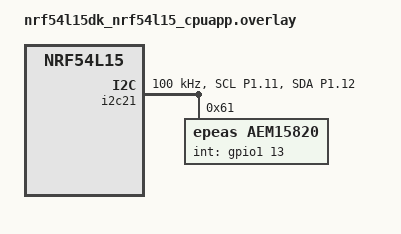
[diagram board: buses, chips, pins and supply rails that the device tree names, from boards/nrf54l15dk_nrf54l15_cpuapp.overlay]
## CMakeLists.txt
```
# SPDX-License-Identifier: Apache-2.0

cmake_minimum_required(VERSION 3.20.0)

# Infuse-IoT application
if(NOT infuse IN_LIST SNIPPET)
  set(SNIPPET infuse ${SNIPPET} CACHE STRING "" FORCE)
endif()

find_package(Zephyr REQUIRED HINTS $ENV{ZEPHYR_BASE})
project(aem15820)

target_sources(app PRIVATE
  src/main.c
)
```

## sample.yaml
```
sample:
  description: e-peas AEM15820 energy harvesting demonstration application
  name: AEM15820 Demo
common:
  tags:
    - charger
    - sensor
    - epacket
    - kv_store
    - logging
    - rpc
    - states
    - tdf
  filter: dt_compat_enabled("epeas,aem15820-charger") and dt_compat_enabled("epeas,aem15820-sensor")
  required_snippets:
    - infuse
  integration_platforms:
    - nrf54l15dk/nrf54l15/cpuapp
  build_only: true
tests:
  sample.charger.aem15820: {}
```

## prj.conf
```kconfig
CONFIG_INFUSE_SDK=y
CONFIG_SENSOR=y
CONFIG_CHARGER=y
CONFIG_TASK_RUNNER=y
CONFIG_TASK_RUNNER_TASK_TDF_LOGGER=y
```

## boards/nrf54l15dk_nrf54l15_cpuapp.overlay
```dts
/*
 * Copyright (c) 2026 Embeint Holdings Pty Ltd
 *
 * SPDX-License-Identifier: Apache-2.0
 *
 * AEM15820 EVK connected to the nRF54L15DK:
 *   SCL: P1.11
 *   SDA: P1.12
 *   IRQ: P1.13 (shared with BUTTON0, which is removed)
 *
 * The EVK must be configured for I2C operation with VDDIO matching the DK
 * I/O voltage.
 */

&pinctrl {
	i2c21_default: i2c21_default {
		group1 {
			psels = <NRF_PSEL(TWIM_SCL, 1, 11)>,
				<NRF_PSEL(TWIM_SDA, 1, 12)>;
			bias-pull-up;
		};
	};

	i2c21_sleep: i2c21_sleep {
		group1 {
			psels = <NRF_PSEL(TWIM_SCL, 1, 11)>,
				<NRF_PSEL(TWIM_SDA, 1, 12)>;
			low-power-enable;
		};
	};
};

/* P1.13 is used as the AEM15820 IRQ line */
/ {
	aliases {
		/delete-property/ sw0;
		/delete-property/ mcuboot-button0;
	};
};
/delete-node/ &button0;

&i2c21 {
	compatible = "nordic,nrf-twim";
	status = "okay";
	clock-frequency = <I2C_BITRATE_STANDARD>;
	pinctrl-0 = <&i2c21_default>;
	pinctrl-1 = <&i2c21_sleep>;
	pinctrl-names = "default", "sleep";

	aem15820: pmic@61 {
		compatible = "epeas,aem15820";
		reg = <0x61>;
		int-gpios = <&gpio1 13 GPIO_ACTIVE_HIGH>;

		/* APM alpha factors are the AEM15820 EVK defaults:
		 *   Low-power boost:  1.804e-8 W/LSB
		 *   High-power boost: 1.200e-5 W/LSB
		 *   Buck (LOAD):      2.265e-9 W/LSB
		 */
		aem15820_sensor: sensor {
			compatible = "epeas,aem15820-sensor";
			apm-boost-lp-alpha-picowatt = <18040>;
			apm-boost-hp-alpha-picowatt = <12000000>;
			apm-load-alpha-picowatt = <2265>;
		};

		/* AEM15820 EVK default configuration (AEM15820_config.yaml):
		 *   Boost LP:     enabled, TMULT x3
		 *   Boost HP:     enabled, TMULT x6
		 *   Source:       MPPT, 85% ratio, 233 ms wait, 14895 ms period
		 *   Source low:   0.300 V
		 *   VOVDIS:       3.000 V
		 *   VCHRDY:       3.300 V
		 *   VCHRDYBUCK:   3.300 V
		 *   VOVCH:        4.200 V
		 *   Buck:         1.8 V, TMULT x2
		 *   APM:          BSTLP, BSTHP and LOAD, counter mode, 233 ms window,
		 *                 no accumulation (CHG5V disabled)
		 *   5V charger:   enabled, constant current only
		 *   Temperature:  protection enabled, R0 = 10k, B = 3380, RDIV = 22k,
		 *                 -24.93 C to 69.78 C for charge and discharge
		 *   IRQ:          I2CRDY only (APMDONE is enabled by the application)
		 *
		 * Changed from the EVK defaults:
		 *   APM:          5 accumulated windows (APMDONE every ~1 second)
		 */
		aem15820_charger: charger {
			compatible = "epeas,aem15820-charger";
			boost-lp-timing-multiplier = <3>;
			boost-hp-timing-multiplier = <6>;
			source-regulation = "mppt";
			mppt-ratio-percent = <85>;
			mppt-wait-us = <233000>;
			mppt-period-ms = <14895>;
			source-low-millivolt = <300>;
			vovdis-millivolt = <3000>;
			vchrdy-millivolt = <3300>;
			vchrdy-buck-millivolt = <3300>;
			vovch-millivolt = <4200>;
			buck-output-millivolt = <1800>;
			buck-timing-multiplier = <2>;
			apm-boost-lp;
			apm-boost-hp;
			apm-load;
			apm-mode = "counter";
			apm-window-ms = <233>;
			apm-accumulation = <5>;
			ntc-r0 = <10000>;
			ntc-beta = <3380>;
			ntc-rdiv = <22000>;
			charge-temp-min-millicelsius = <(-24930)>;
			charge-temp-max-millicelsius = <69780>;
			discharge-temp-min-millicelsius = <(-24930)>;
			discharge-temp-max-millicelsius = <69780>;
		};
	};
};
```

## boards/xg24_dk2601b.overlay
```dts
/*
 * Copyright (c) 2026 Embeint Holdings Pty Ltd
 *
 * SPDX-License-Identifier: Apache-2.0
 *
 * AEM15820 EVK connected to the xG24 Dev Kit (BRD2601B) expansion header:
 *   SCL: PC4 (EXP15, I2C0 shared with the onboard sensors)
 *   SDA: PC5 (EXP16, I2C0 shared with the onboard sensors)
 *   IRQ: PB2 (EXP3, shared with BTN0, which is removed)
 *
 * Port B pins retain their interrupt functionality in EM2, allowing the IRQ
 * line to wake the SoC.
 *
 * The EVK must be configured for I2C operation with VDDIO matching the DK
 * I/O voltage.
 */

/* PB2 is used as the AEM15820 IRQ line */
/ {
	aliases {
		/delete-property/ sw0;
	};
};
/delete-node/ &button0;

&i2c0 {
	aem15820: pmic@61 {
		compatible = "epeas,aem15820";
		reg = <0x61>;
		int-gpios = <&gpiob 2 GPIO_ACTIVE_HIGH>;

		/* APM alpha factors are the AEM15820 EVK defaults:
		 *   Low-power boost:  1.804e-8 W/LSB
		 *   High-power boost: 1.200e-5 W/LSB
		 *   Buck (LOAD):      2.265e-9 W/LSB
		 */
		aem15820_sensor: sensor {
			compatible = "epeas,aem15820-sensor";
			apm-boost-lp-alpha-picowatt = <18040>;
			apm-boost-hp-alpha-picowatt = <12000000>;
			apm-load-alpha-picowatt = <2265>;
		};

		/* AEM15820 EVK default configuration (AEM15820_config.yaml):
		 *   Boost LP:     enabled, TMULT x3
		 *   Boost HP:     enabled, TMULT x6
		 *   Source:       MPPT, 85% ratio, 233 ms wait, 14895 ms period
		 *   Source low:   0.300 V
		 *   VOVDIS:       3.000 V
		 *   VCHRDY:       3.300 V
		 *   VCHRDYBUCK:   3.300 V
		 *   VOVCH:        4.200 V
		 *   Buck:         1.8 V, TMULT x2
		 *   APM:          BSTLP, BSTHP and LOAD, counter mode, 233 ms window,
		 *                 no accumulation (CHG5V disabled)
		 *   5V charger:   enabled, constant current only
		 *   Temperature:  protection enabled, R0 = 10k, B = 3380, RDIV = 22k,
		 *                 -24.93 C to 69.78 C for charge and discharge
		 *   IRQ:          I2CRDY only (APMDONE is enabled by the application)
		 *
		 * Changed from the EVK defaults:
		 *   APM:          5 accumulated windows (APMDONE every ~1 second)
		 */
		aem15820_charger: charger {
			compatible = "epeas,aem15820-charger";
			boost-lp-timing-multiplier = <3>;
			boost-hp-timing-multiplier = <6>;
			source-regulation = "mppt";
			mppt-ratio-percent = <85>;
			mppt-wait-us = <233000>;
			mppt-period-ms = <14895>;
			source-low-millivolt = <300>;
			vovdis-millivolt = <3000>;
			vchrdy-millivolt = <3300>;
			vchrdy-buck-millivolt = <3300>;
			vovch-millivolt = <4200>;
			buck-output-millivolt = <1800>;
			buck-timing-multiplier = <2>;
			apm-boost-lp;
			apm-boost-hp;
			apm-load;
			apm-mode = "power";
			apm-window-ms = <233>;
			apm-accumulation = <5>;
			ntc-r0 = <10000>;
			ntc-beta = <3380>;
			ntc-rdiv = <22000>;
			charge-temp-min-millicelsius = <(-24930)>;
			charge-temp-max-millicelsius = <69780>;
			discharge-temp-min-millicelsius = <(-24930)>;
			discharge-temp-max-millicelsius = <69780>;
		};
	};
};
```

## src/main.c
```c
/**
 * @file
 * @copyright 2026 Embeint Holdings Pty Ltd
 * @author Jordan Yates <jordan@embeint.com>
 *
 * SPDX-License-Identifier: FSL-1.1-ALv2
 */

#include <zephyr/kernel.h>
#include <zephyr/device.h>
#include <zephyr/drivers/gpio.h>
#include <zephyr/drivers/sensor.h>
#include <zephyr/logging/log.h>

#include <infuse/data_logger/high_level/tdf.h>
#include <infuse/drivers/mfd/aem15820.h>
#include <infuse/drivers/sensor/aem15820.h>
#include <infuse/task_runner/tasks/tdf_logger.h>
#include <infuse/tdf/definitions.h>
#include <infuse/time/epoch.h>

#define CHARGER_NODE DT_COMPAT_GET_ANY_STATUS_OKAY(epeas_aem15820_charger)
#define SENSOR_NODE  DT_COMPAT_GET_ANY_STATUS_OKAY(epeas_aem15820_sensor)

BUILD_ASSERT(DT_ENUM_HAS_VALUE(CHARGER_NODE, source_regulation, mppt),
	     "Sample requires MPPT source regulation");
BUILD_ASSERT(DT_SAME_NODE(DT_PARENT(CHARGER_NODE), DT_PARENT(SENSOR_NODE)),
	     "Sensor and charger must belong to the same AEM15820");

#define MPPT_RATIO_PERCENT DT_PROP(CHARGER_NODE, mppt_ratio_percent)
/* Nominal time between APM interrupts, including accumulated windows */
#define APM_PERIOD_MS                                                                              \
	(DT_PROP(CHARGER_NODE, apm_window_ms) * DT_PROP(CHARGER_NODE, apm_accumulation))
#define REPORT_PERIOD K_SECONDS(5)

/* Live loggers are flushed on every report, flash is written as blocks fill */
#define TDF_LOGGERS_LIVE (TDF_DATA_LOGGER_BT_ADV | TDF_DATA_LOGGER_SERIAL)
#define TDF_LOGGERS      (TDF_LOGGERS_LIVE | TDF_DATA_LOGGER_FLASH)

/* Optional ambient light sensor, reported alongside the AEM15820 measurements */
#define LIGHT_NODE DT_ALIAS(light0)

/* Optional LED, blinked on each report as a visual liveness indicator */
#define LED_BLINK_DURATION K_MSEC(20)
static const struct gpio_dt_spec led = GPIO_DT_SPEC_GET_OR(DT_ALIAS(led0), gpios, {0});

/* The accumulated TDF contains the preceding complete minute. */
#define ENERGY_ACCUMULATION_PERIOD_MS (60 * MSEC_PER_SEC)
/* 1 uWh = 3.6e9 nW.ms */
#define NW_MS_PER_UWH                 3600000000ULL
/* 1 nWh = 3.6e6 nW.ms */
#define NW_MS_PER_NWH                 3600000ULL

/* 1 mAh = 1e12 fAh */
#define FAH_PER_MAH 1000000000000ULL

LOG_MODULE_REGISTER(app, LOG_LEVEL_INF);

static K_SEM_DEFINE(apm_done, 0, 1);
/* Uptime of the last APM window completion */
static int64_t apm_done_ms;
/* Charge stored through the boost converters since boot */
static uint64_t stored_fah;
/* Energy stored through each boost converter since boot */
static uint64_t stored_lp_nw_ms;
static uint64_t stored_hp_nw_ms;
/* Energy accumulated in the current, incomplete minute */
static uint64_t minute_energy_nw_ms;
static uint32_t minute_duration_ms;
/* Most recently completed minute, retransmitted with each report */
static struct tdf_energy_harvester_accumulated accumulated_tdf;

static void apm_handler(const struct device *dev, struct aem15820_irq_callback *cb, uint16_t events)
{
	apm_done_ms = k_uptime_get();
	k_sem_give(&apm_done);
}

static struct aem15820_irq_callback apm_cb = {
	.handler = apm_handler,
	.events = AEM15820_IRQ_APMDONE,
};

static int channel_get(const struct device *dev, int chan, int64_t *micro)
{
	struct sensor_value val;
	int rc;

	rc = sensor_channel_get(dev, (enum sensor_channel)chan, &val);
	if (rc == 0) {
		*micro = sensor_value_to_micro(&val);
	}
	return rc;
}

static void report_ambient_light(uint64_t epoch_time)
{
#if DT_NODE_HAS_STATUS_OKAY(LIGHT_NODE)
	const struct device *light = DEVICE_DT_GET(LIGHT_NODE);
	struct tdf_ambient_light light_tdf;
	int64_t light_ulux;
	int rc;

	rc = sensor_sample_fetch_chan(light, SENSOR_CHAN_LIGHT);
	if (rc == 0) {
		rc = channel_get(light, SENSOR_CHAN_LIGHT, &light_ulux);
	}
	if (rc != 0) {
		LOG_ERR("Ambient light unavailable (%d)", rc);
		return;
	}

	light_tdf.illuminance = CLAMP(DIV_ROUND_CLOSEST(light_ulux, 1000), 0, UINT32_MAX);
	LOG_INF("Ambient light %u.%03u lux", light_tdf.illuminance / 1000,
		light_tdf.illuminance % 1000);
	TDF_DATA_LOGGER_LOG(TDF_LOGGERS, TDF_AMBIENT_LIGHT, epoch_time, &light_tdf);
#endif /* DT_NODE_HAS_STATUS_OKAY(LIGHT_NODE) */
}

static void report_measurements(const struct device *sensor)
{
	struct tdf_energy_harvester_state harvester_tdf;
	struct tdf_storage_temperature temperature_tdf;
	struct tdf_battery_state battery_tdf = {0};
	int64_t sto_uv, src_uv, lp_nw, hp_nw, load_nw, temperature_uc;
	uint64_t epoch_time;
	int rc;

	rc = channel_get(sensor, SENSOR_CHAN_VOLTAGE, &sto_uv);
	if (rc != 0) {
		LOG_ERR("STO voltage unavailable (%d)", rc);
		return;
	}
	rc = channel_get(sensor, SENSOR_CHAN_AEM15820_SRC_VOLTAGE, &src_uv);
	if (rc != 0) {
		LOG_ERR("SRC voltage unavailable (%d)", rc);
		return;
	}
	rc = channel_get(sensor, SENSOR_CHAN_AEM15820_BOOST_LP_POWER, &lp_nw);
	if (rc == 0) {
		rc = channel_get(sensor, SENSOR_CHAN_AEM15820_BOOST_HP_POWER, &hp_nw);
	}
	if (rc == 0) {
		rc = channel_get(sensor, SENSOR_CHAN_AEM15820_LOAD_POWER, &load_nw);
	}
	if (rc != 0) {
		LOG_ERR("APM power unavailable (%d)", rc);
		return;
	}
	rc = channel_get(sensor, SENSOR_CHAN_GAUGE_TEMP, &temperature_uc);
	if (rc != 0) {
		LOG_ERR("Storage temperature unavailable (%d)", rc);
		return;
	}

	/* SRC is the open-circuit voltage measured during the last MPPT evaluation,
	 * the source is then regulated to the configured ratio of that voltage.
	 */
	LOG_INF("STO %u mV, SRC %u mV, MPPT target %u mV (%d%%)", (uint32_t)(sto_uv / 1000),
		(uint32_t)(src_uv / 1000), (uint32_t)(src_uv * MPPT_RATIO_PERCENT / 100000),
		MPPT_RATIO_PERCENT);

	harvester_tdf.voltage_mv = DIV_ROUND_CLOSEST(src_uv, 1000);
	harvester_tdf.power_uw = DIV_ROUND_CLOSEST(lp_nw + hp_nw, 1000);
	/* Round microdegrees to centidegrees, including negative temperatures. */
	temperature_tdf.temperature =
		(temperature_uc + ((temperature_uc < 0) ? -5000 : 5000)) / 10000;
	/* Approximate the storage element current from the net power flow into STO,
	 * I = P / VSTO. uA = nW * 1e-9 / (uV * 1e-6) * 1e6 = nW * 1000 / uV.
	 * Buck conversion losses are ignored, and state of charge is not estimated.
	 */
	battery_tdf.voltage_mv = DIV_ROUND_CLOSEST(sto_uv, 1000);
	if (sto_uv > 0) {
		battery_tdf.current_ua = ((lp_nw + hp_nw - load_nw) * 1000) / sto_uv;
	}

	/* All measurements in the report share a single timestamp */
	epoch_time = epoch_time_now();
	/* Announce only needs to be sent live, first so it is in the first packet */
	task_tdf_logger_manual_run(TDF_LOGGERS_LIVE, epoch_time, TASK_TDF_LOGGER_LOG_ANNOUNCE,
				   NULL);
	TDF_DATA_LOGGER_LOG(TDF_LOGGERS, TDF_BATTERY_STATE, epoch_time, &battery_tdf);
	TDF_DATA_LOGGER_LOG(TDF_LOGGERS, TDF_ENERGY_HARVESTER_STATE, epoch_time, &harvester_tdf);
	TDF_DATA_LOGGER_LOG(TDF_LOGGERS, TDF_ENERGY_HARVESTER_ACCUMULATED, epoch_time,
			    &accumulated_tdf);
	TDF_DATA_LOGGER_LOG(TDF_LOGGERS, TDF_STORAGE_TEMPERATURE, epoch_time, &temperature_tdf);
	report_ambient_light(epoch_time);
	tdf_data_logger_flush(TDF_LOGGERS_LIVE);
}

static void energy_accumulate(uint64_t power_nw, uint32_t duration_ms)
{
	minute_energy_nw_ms += power_nw * duration_ms;
	minute_duration_ms += duration_ms;

	if (minute_duration_ms >= ENERGY_ACCUMULATION_PERIOD_MS) {
		/* duration has a schema scale of two seconds per LSB. */
		accumulated_tdf.duration = DIV_ROUND_CLOSEST(minute_duration_ms, 2 * MSEC_PER_SEC);
		accumulated_tdf.energy_uwh = DIV_ROUND_CLOSEST(minute_energy_nw_ms, NW_MS_PER_UWH);
		minute_energy_nw_ms = 0;
		minute_duration_ms = 0;
	}
}

static void apm_window_complete(const struct device *sensor, uint32_t window_ms)
{
	int64_t lp_nw, hp_nw, sto_uv;
	uint64_t total_nah, lp_nwh, hp_nwh;
	int rc;

	/* Power channels are in mW, micro-mW is nW */
	rc = channel_get(sensor, SENSOR_CHAN_AEM15820_BOOST_LP_POWER, &lp_nw);
	if (rc == 0) {
		rc = channel_get(sensor, SENSOR_CHAN_AEM15820_BOOST_HP_POWER, &hp_nw);
	}
	if (rc == 0) {
		rc = channel_get(sensor, SENSOR_CHAN_VOLTAGE, &sto_uv);
	}
	if ((rc != 0) || (sto_uv <= 0)) {
		LOG_WRN("APM data unavailable (%d)", rc);
		return;
	}
	energy_accumulate(lp_nw + hp_nw, window_ms);

	/* Charge into the storage element over the window, Q = P * t / VSTO.
	 * fAh = nW * ms * 1e-12 / (uV * 1e-6) / 3600 * 1e15 = nW * ms * 1e7 / (uV * 36)
	 */
	stored_fah += ((lp_nw + hp_nw) * window_ms * 10000000) / (sto_uv * 36);
	total_nah = stored_fah / 1000000;
	stored_lp_nw_ms += lp_nw * window_ms;
	stored_hp_nw_ms += hp_nw * window_ms;
	lp_nwh = stored_lp_nw_ms / NW_MS_PER_NWH;
	hp_nwh = stored_hp_nw_ms / NW_MS_PER_NWH;

	LOG_INF("BOOST LP: %6u uW, BOOST HP: %6u uW, TOTAL: %u.%06u mAhr, LP: %u.%03u uWh, "
		"HP: %u.%03u uWh",
		(uint32_t)DIV_ROUND_CLOSEST(lp_nw, 1000), (uint32_t)DIV_ROUND_CLOSEST(hp_nw, 1000),
		(uint32_t)(stored_fah / FAH_PER_MAH), (uint32_t)(total_nah % 1000000),
		(uint32_t)(lp_nwh / 1000), (uint32_t)(lp_nwh % 1000), (uint32_t)(hp_nwh / 1000),
		(uint32_t)(hp_nwh % 1000));
}

static void led_blink(void)
{
	if (led.port == NULL) {
		return;
	}
	gpio_pin_set_dt(&led, 1);
	k_sleep(LED_BLINK_DURATION);
	gpio_pin_set_dt(&led, 0);
}

int main(void)
{
	const struct device *mfd = DEVICE_DT_GET(DT_PARENT(SENSOR_NODE));
	const struct device *sensor = DEVICE_DT_GET(SENSOR_NODE);
	const struct device *charger = DEVICE_DT_GET(CHARGER_NODE);
	k_timepoint_t next_report;
	int64_t last_apm_ms = -1;
	uint32_t window_ms;
	int rc;

	if (!device_is_ready(sensor) || !device_is_ready(charger)) {
		LOG_ERR("AEM15820 not ready");
		return -ENODEV;
	}
	if (led.port != NULL) {
		rc = gpio_pin_configure_dt(&led, GPIO_OUTPUT_INACTIVE);
		if (rc != 0) {
			LOG_WRN("LED unavailable (%d)", rc);
		}
	}

	/* Run the APM power integration from the APM window completion interrupt */
	rc = aem15820_irq_callback_add(mfd, &apm_cb);
	if (rc == 0) {
		rc = aem15820_irq_enable(mfd, AEM15820_IRQ_APMDONE, true);
	}
	if (rc != 0) {
		LOG_ERR("Failed to enable APM interrupt (%d)", rc);
		return rc;
	}

	next_report = sys_timepoint_calc(K_NO_WAIT);
	for (;;) {
		rc = k_sem_take(&apm_done, sys_timepoint_timeout(next_report));

		/* Monitoring values are updated autonomously, fetch reads the latest */
		if (sensor_sample_fetch(sensor) != 0) {
			LOG_ERR("Sample fetch failed");
			continue;
		}
		if (rc == 0) {
			/* The actual APM window deviates from the nominal value, so integrate the
			 * average power over the measured time between completions (which covers
			 * all accumulated windows). The first period uses the nominal value.
			 */
			window_ms = (last_apm_ms < 0) ? APM_PERIOD_MS : (apm_done_ms - last_apm_ms);
			last_apm_ms = apm_done_ms;
			/* APM data is only valid until the next window completes */
			apm_window_complete(sensor, window_ms);
		}
		if (sys_timepoint_expired(next_report)) {
			report_measurements(sensor);
			led_blink();
			next_report = sys_timepoint_calc(REPORT_PERIOD);
		}
	}
	return 0;
}
```
